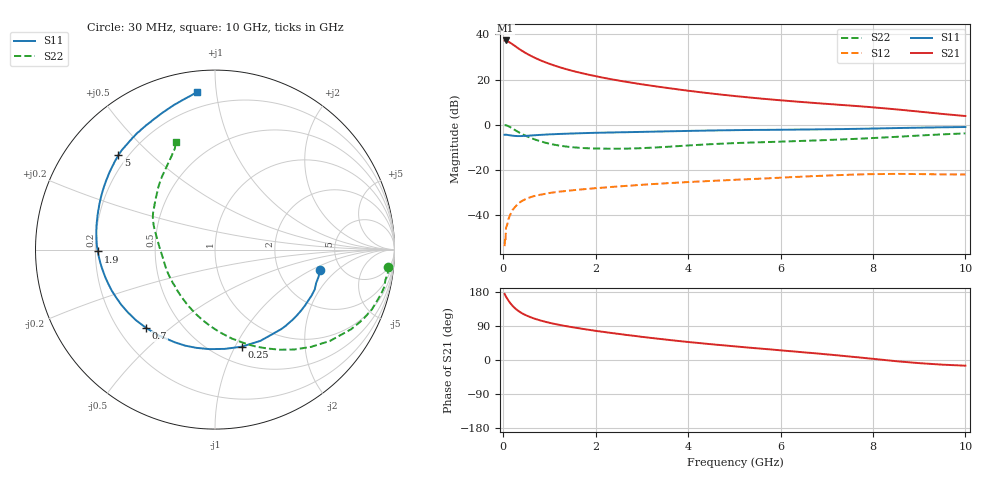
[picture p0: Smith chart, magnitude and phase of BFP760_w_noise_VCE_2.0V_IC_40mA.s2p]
! Infineon Technologies  Discrete & RF Semiconductors
! BFP760
! VCE =  2.0 V,  IC =  40 mA
! Common Emitter S-Parameters:  Nov 2012
# GHz  S  MA  R  50
!  f  S11  S21  S12  S22
! GHz  MAG  ANG  MAG  ANG  MAG  ANG  MAG  ANG
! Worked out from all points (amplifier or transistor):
!   99 points, 30 MHz to 10 GHz, reference 50 ohm
!   highest |S21| = 37.4 dB at 50 MHz (marker M1)
!   |S21| within 3 dB of that: start of sweep to 291.2 MHz
!   unconditionally stable (mu >= 1): 3.864 GHz to end of sweep
!   at 350 MHz: K = 0.33, MSG = 34.1 dB, |S12| = -34.7 dB
!   at 3.5 GHz: K = 0.97, MSG = 21.2 dB, |S12| = -26.1 dB
!   at 10 GHz: K = 1.07, MAG = 11.4 dB, |S12| = -22.1 dB
!   lowest NFmin = 0.92 dB at 900 MHz
!   S11 on the Smith chart (normalised r, x): 30 MHz: 3.46, -1.24; 250 MHz: 0.67, -1.06; 700 MHz: 0.31, -0.41; 1.9 GHz: 0.21, -0.01; 5 GHz: 0.16, +0.40; 10 GHz: 0.11, +0.88
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0.03  0.5948 -11.2  72.95 174.2  0.002 91.1  0.9703 -5.6
0.05  0.5935 -18.3  73.71 169.3  0.0028 72.6  0.9642 -10.2
0.07  0.5962 -25.2  72.93 165.1  0.0054 80.9  0.9591 -14.5
0.1  0.588 -35.1  70.36 159.3  0.007 76.7  0.9354 -20.9
0.15  0.5764 -50.4  65.78 150.5  0.0099 67.8  0.8781 -30.4
0.2  0.5679 -63.5  60.69 143.2  0.0126 66.9  0.8179 -38.5
0.25  0.561 -74.7  55.95 137.1  0.0146 61.5  0.7605 -45.5
0.35  0.5554 -93.2  47.32 127.6  0.0184 55.5  0.6634 -57.2
0.45  0.5603 -107.2  40.76 120.5  0.0213 51.2  0.5878 -66.9
0.6  0.5725 -123.2  33.49 112.5  0.0247 46.5  0.5035 -79.4
0.7  0.5811 -131.4  29.84 108.2  0.0264 44.3  0.4612 -86.7
0.9  0.5985 -144.3  24.41 101.2  0.0289 40.8  0.3991 -99.9
1.1  0.6121 -154.2  20.57 95.5  0.0313 38.8  0.3583 -111.3
1.7  0.6442 -174.1  13.87 82.5  0.0364 35.9  0.302 -138.1
1.9  0.6531 -179.1  12.48 78.8  0.038 35.5  0.2959 -145.5
2.6  0.676 166.9  9.112 67.2  0.0431 34.5  0.2923 -166.5
3.4  0.7027 153.9  6.832 55.5  0.0489 33.2  0.3149 174.9
5  0.7524 135.7  4.314 36.1  0.0594 29.8  0.3872 153.3
5.1  0.7546 134.9  4.213 35.0  0.0601 29.5  0.3911 152.3
6.7  0.7814 123.4  3.038 18.2  0.0717 24.7  0.4425 137.7
8.5  0.8369 106.0  2.18 -3.1  0.0804 13.5  0.5342 120.4
10  0.8837 96.6  1.55 -15.0  0.0781 8.6  0.6381 110.1
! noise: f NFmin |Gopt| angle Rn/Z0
0.9  0.92  0.23  -166  0.11
1.8  0.94  0.24  -157  0.08
2.4  0.99  0.25  -149  0.08
3.5  1.15  0.25  -138  0.18
5.5  1.38  0.32  -79  0.5
8  1.61  0.47  -57  0.52
